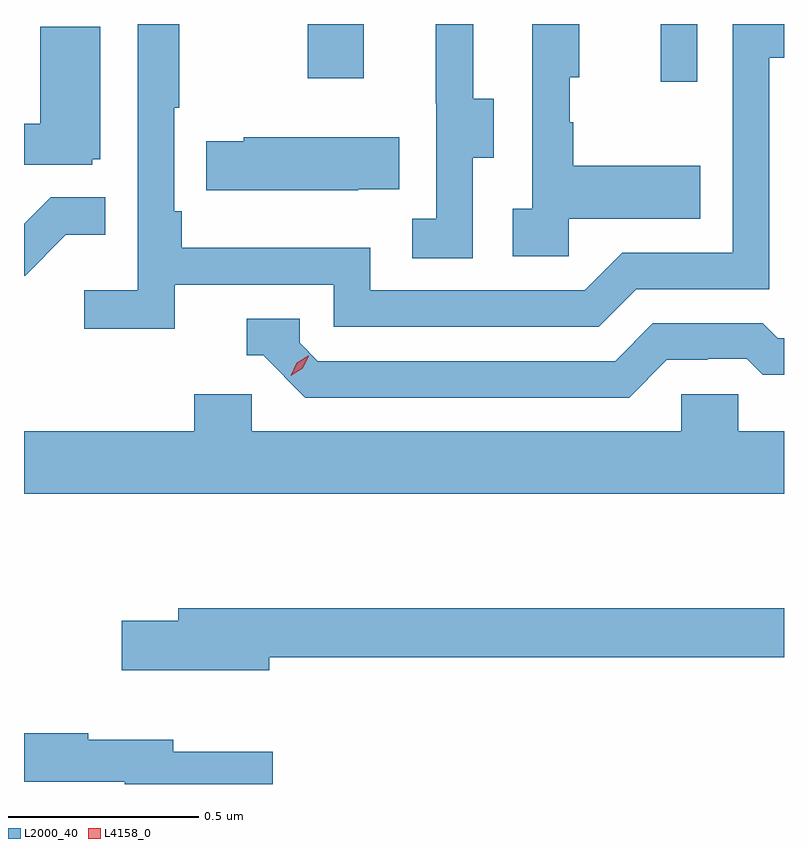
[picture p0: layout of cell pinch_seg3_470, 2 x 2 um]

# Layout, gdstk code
import gdstk
lib = gdstk.Library(unit=1e-6, precision=1e-09)
def R(c, l, rs):  # rectangles x0, y0, x1, y1
    for r in rs: c.add(gdstk.rectangle(r[:2], r[2:], *l))
def P(c, l, *ps):  # polygons
    for p in ps: c.add(gdstk.Polygon(p, *l))
L2000_40 = (2000, 40)
L4158_0 = (4158, 0)

pinch_seg3_470 = lib.new_cell('pinch_seg3_470')
R(pinch_seg3_470, L2000_40, [(915.116,686.016,915.213,686.168), (914.188,686.025,914.335,686.168)])
P(pinch_seg3_470, L2000_40, [(914.874,685.655),(915.221,685.655),(915.221,685.795),(914.887,685.795),(914.887,685.91),(914.877,685.91),(914.877,686.028),(914.902,686.028),(914.902,686.168),(914.778,686.168),(914.778,685.682),(914.727,685.682),(914.727,685.557),(914.874,685.557)],
  [(914.622,685.816),(914.677,685.816),(914.677,685.971),(914.623,685.971),(914.623,686.168),(914.525,686.168),(914.525,685.959),(914.526,685.959),(914.526,685.655),(914.463,685.655),(914.463,685.552),(914.622,685.552)],
  [(913.838,685.482),(914.256,685.482),(914.256,685.371),(914.953,685.371),(915.052,685.47),(915.402,685.47),(915.402,686.079),(915.441,686.079),(915.441,686.168),(915.306,686.168),(915.306,685.566),(915.015,685.566),(914.916,685.467),(914.352,685.467),(914.352,685.579),(913.856,685.579),(913.856,685.675),(913.836,685.675),(913.836,685.948),(913.849,685.948),(913.849,686.168),(913.74,686.168),(913.74,685.468),(913.599,685.468),(913.599,685.366),(913.838,685.366)],
  [(913.62,685.812),(913.642,685.812),(913.642,686.161),(913.484,686.161),(913.484,685.906),(913.441,685.906),(913.441,685.797),(913.62,685.797)],
  [(914.321,685.733),(914.429,685.733),(914.429,685.87),(914.019,685.87),(914.019,685.86),(913.921,685.86),(913.921,685.73),(914.321,685.73)],
  [(913.551,685.613),(913.655,685.613),(913.655,685.712),(913.511,685.712),(913.441,685.642),(913.441,685.506),(913.444,685.506)],
  [(915.133,685.284),(915.24,685.284),(915.24,685.287),(915.343,685.287),(915.385,685.245),(915.441,685.245),(915.441,685.341),(915.424,685.341),(915.385,685.38),(915.096,685.38),(914.997,685.281),(914.214,685.281),(914.166,685.329),(914.166,685.392),(914.027,685.392),(914.027,685.296),(914.07,685.296),(914.181,685.185),(915.034,685.185)],
  [(915.441,685.096),(915.321,685.096),(915.321,685.194),(915.171,685.194),(915.171,685.096),(914.04,685.096),(914.04,685.194),(913.889,685.194),(913.889,685.096),(913.441,685.096),(913.441,684.932),(915.441,684.932)],
  [(914.086,684.502),(915.441,684.502),(915.441,684.631),(913.847,684.631),(913.847,684.597),(913.698,684.597),(913.698,684.467),(914.086,684.467)],
  [(914.095,684.253),(913.834,684.253),(913.834,684.284),(913.61,684.284),(913.61,684.302),(913.441,684.302),(913.441,684.174),(913.706,684.174),(913.706,684.168),(914.095,684.168)])
P(pinch_seg3_470, L4158_0, [(914.143,685.242),(914.143,685.243),(914.159,685.276),(914.189,685.295),(914.19,685.295),(914.19,685.295),(914.174,685.262),(914.143,685.242)])

lib.write_gds('pinch_seg3_470.gds')
